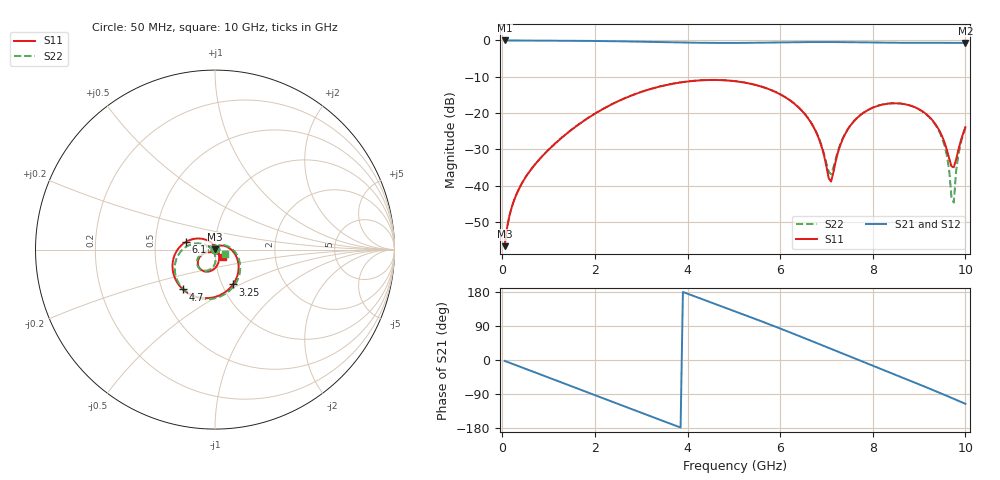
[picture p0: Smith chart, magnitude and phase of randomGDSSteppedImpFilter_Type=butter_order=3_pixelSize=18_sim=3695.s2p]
! freq	dB(S11)	phase(S11)	dB(S12)	phase(S12)
!  dB(S21)	phase(S21)	dB(S22)	phase(S22)
!S-par simulation data
#  GHz  S  DB  R 50
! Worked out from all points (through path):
!   200 points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, 50 MHz to 10 GHz, reference 50 ohm
!   highest |S21| = 0.00 dB at 50 MHz (marker M1); lowest = -0.7 dB at 10 GHz (marker M2)
!   group delay of S21, straight-line fit = 131 ps
!   lowest |S11| = -56.6 dB at 50 MHz (marker M3), VSWR 1.00, Z = 50 + j0.14 ohm
!   |S11| at or under -10 dB: start of sweep to end of sweep
!   |S22| runs from -56.6 to -10.9 dB; largest |S21 - S12| = 0
!   S11 on the Smith chart (normalised r, x): 50 MHz: 1.00, +0.00; 3.25 GHz: 1.12, -0.46; 4.7 GHz: 0.64, -0.31; 6.1 GHz: 0.72, +0.06; 10 GHz: 1.09, -0.10
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0.05  -56.63 71.1  -0.00 -2.4  -0.00 -2.4  -56.65 71.7
0.2  -46.09 74.4  -0.02 -9.3  -0.02 -9.3  -46.10 75.5
0.5  -37.72 64.4  -0.03 -23.2  -0.03 -23.2  -37.71 66.9
1.75  -22.23 7.4  -0.12 -81.1  -0.12 -81.1  -22.19 12.1
2.45  -17.05 -25.5  -0.22 -113.6  -0.22 -113.6  -17.02 -20.7
3.25  -13.20 -62.7  -0.40 -150.7  -0.40 -150.7  -13.18 -57.7
3.4  -12.70 -69.6  -0.44 -157.6  -0.44 -157.6  -12.68 -64.6
4.05  -11.23 -99.3  -0.60 172.7  -0.60 172.7  -11.21 -93.9
4.7  -10.91 -128.7  -0.68 143.3  -0.68 143.3  -10.89 -122.6
5.05  -11.26 -144.7  -0.68 127.4  -0.68 127.4  -11.24 -138.0
6.1  -15.55 164.9  -0.52 78.3  -0.52 78.3  -15.53 176.1
6.7  -23.37 130.2  -0.44 49.1  -0.44 49.1  -23.28 154.7
7.1  -38.87 18.0  -0.44 29.3  -0.44 29.3  -36.82 -136.8
7.3  -28.79 -52.5  -0.46 19.4  -0.46 19.4  -28.51 -88.0
7.5  -23.76 -70.3  -0.48 9.5  -0.48 9.5  -23.65 -87.9
8.35  -17.38 -116.7  -0.62 -32.3  -0.62 -32.3  -17.35 -121.1
9.35  -22.99 -159.1  -0.65 -81.8  -0.65 -81.8  -23.18 -166.4
9.6  -30.12 -152.3  -0.65 -94.6  -0.65 -94.6  -31.65 -174.1
9.7  -34.66 -120.5  -0.65 -99.8  -0.65 -99.8  -43.26 -154.3
9.75  -34.93 -90.1  -0.66 -102.4  -0.66 -102.4  -44.63 -47.5
9.85  -30.05 -53.0  -0.66 -107.7  -0.66 -107.7  -31.36 -21.3
10  -23.90 -43.3  -0.69 -115.7  -0.69 -115.7  -24.07 -25.0
